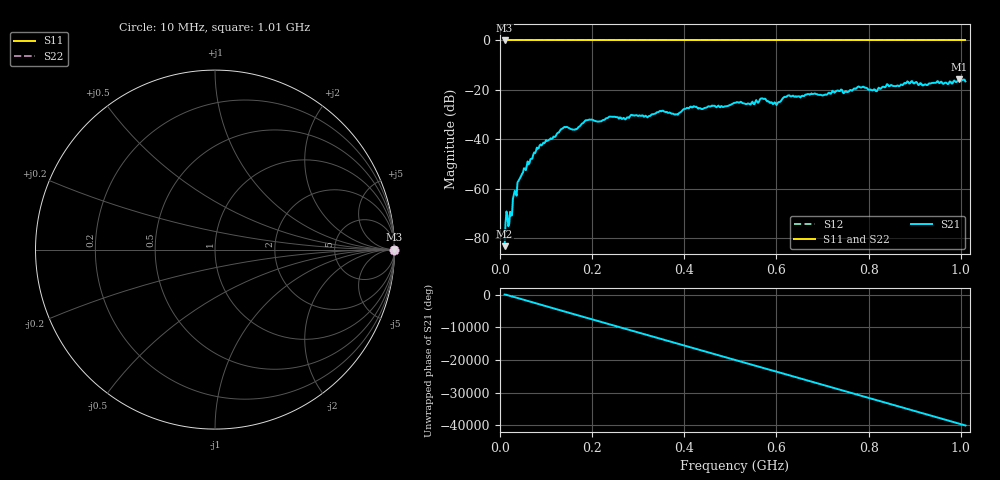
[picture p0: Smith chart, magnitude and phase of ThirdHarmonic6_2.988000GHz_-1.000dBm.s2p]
! 8/17/2025 8:30:33 AM
! C:\ANRITSUVNA\TEMP\TEMP.S2P
! CHANNEL.1
! TR.MEASUREMENT
! RAW.DATA
! RF.CORRECTION.OFF
! AVERAGING.OFF
! IF.BANDWIDTH: 5KHZ
! SWEEPTYPE:  FREQ.SWEEP(Linear)
! Reference Plane Port Info
! PORT:  PORT1  PORT2
! DISTANCE:  0  m  0  m
! TIME:  0  s  0  s
! PHASE.OFFSET:  0  deg.  0  deg.
! LOSS:  0  dB  0  dB
! REF.LOSS:  0  dB  0  dB
! REF.FREQ:  0  Hz  0  Hz
! Power Info
! POWER:  -20  dBm  -20  dBm
! EFF.POWER:  -20  dBm  -20  dBm
! SOURCE.ATTEN:  0  dB  0  dB
! TEST.ATTEN:  0  dB  0  dB
# GHZ S RI R 50.0
! FREQ.GHZ  S11RE  S11IM  S21RE  S21IM  S12RE  S12IM  S22RE  S22IM
!; PortSelection: Port_12
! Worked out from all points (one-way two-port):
!   501 points, 10 MHz to 1.01 GHz, reference 50 ohm
!   highest |S21| = -15.64 dB at 996 MHz (marker M1); lowest = -83.2 dB at 10 MHz (marker M2)
!   lowest |S11| = 0.0 dB at 10 MHz (marker M3)
!   |S11| at or under -10 dB: nowhere
!   |S22| runs from 0.0 to 0.0 dB; largest |S21 - S12| = 1.2
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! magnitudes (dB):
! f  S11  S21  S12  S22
! 10 MHz  0.0  -83.2  0.0  0.0
! 18 MHz  0.0  -75.1  0.0  0.0
! 22 MHz  0.0  -69.3  0.0  0.0
! 30 MHz  0.0  -62.4  0.0  0.0
! 42 MHz  0.0  -56.2  0.0  0.0
! 78 MHz  0.0  -44.8  0.0  0.0
! 136 MHz  0.0  -35.6  0.0  0.0
! 162 MHz  0.0  -36.1  0.0  0.0
! 178 MHz  0.0  -33.6  0.0  0.0
! 344 MHz  0.0  -29.0  0.0  0.0
! 382 MHz  0.0  -29.8  0.0  0.0
! 416 MHz  0.0  -27.1  0.0  0.0
! 510 MHz  0.0  -25.2  0.0  0.0
! 570 MHz  0.0  -23.5  0.0  0.0
! 598 MHz  0.0  -25.4  0.0  0.0
! 624 MHz  0.0  -22.3  0.0  0.0
! 678 MHz  0.0  -21.7  0.0  0.0
! 780 MHz  0.0  -18.7  0.0  0.0
! 814 MHz  0.0  -19.9  0.0  0.0
! 844 MHz  0.0  -18.5  0.0  0.0
! 996 MHz  0.0  -15.6  0.0  0.0
! 1.01 GHz  0.0  -16.6  0.0  0.0
